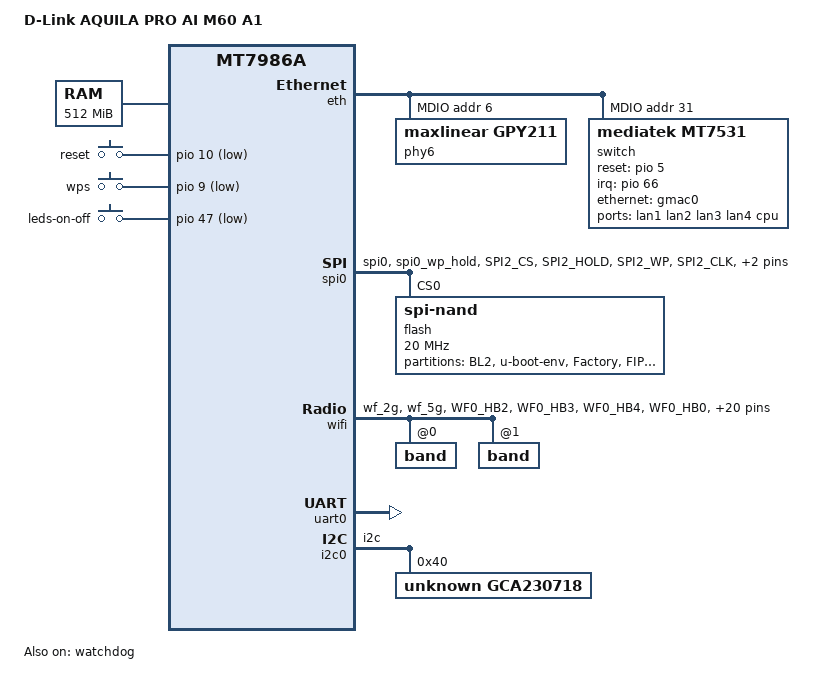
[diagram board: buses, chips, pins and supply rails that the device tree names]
// SPDX-License-Identifier: (GPL-2.0 OR MIT)

/dts-v1/;
#include <dt-bindings/input/input.h>
#include <dt-bindings/gpio/gpio.h>
#include <dt-bindings/leds/common.h>

#include "mt7986a.dtsi"

/ {
	model = "D-Link AQUILA PRO AI M60 A1";
	compatible = "dlink,aquila-pro-ai-m60-a1", "mediatek,mt7986a";

	aliases {
		serial0 = &uart0;
		led-boot = &led_status_white;
		led-failsafe = &led_status_red;
		led-running = &led_status_white;
		led-upgrade = &led_status_blue;
		label-mac-device = &gmac0;
	};

	chosen {
		stdout-path = "serial0:115200n8";
	};

	memory@40000000 {
		reg = <0 0x40000000 0 0x20000000>;
	};

	gpio-keys {
		compatible = "gpio-keys";

		button-reset {
			label = "reset";
			gpios = <&pio 10 GPIO_ACTIVE_LOW>;
			linux,code = <KEY_RESTART>;
		};

		button-wps {
			label = "wps";
			gpios = <&pio 9 GPIO_ACTIVE_LOW>;
			linux,code = <KEY_WPS_BUTTON>;
		};

		button-leds-on-off {
			label = "leds-on-off";
			linux,code = <KEY_LIGHTS_TOGGLE>;
			gpios = <&pio 47 GPIO_ACTIVE_LOW>;
		};
	};
};

&eth {
	status = "okay";

	gmac0: mac@0 {
		compatible = "mediatek,eth-mac";
		reg = <0>;
		phy-mode = "2500base-x";

		nvmem-cells = <&macaddr_odm 1>;
		nvmem-cell-names = "mac-address";
		fixed-link {
			speed = <2500>;
			full-duplex;
			pause;
		};
	};

	gmac1: mac@1 {
		compatible = "mediatek,eth-mac";
		reg = <1>;
		phy-mode = "2500base-x";
		phy-handle = <&phy6>;
		nvmem-cells = <&macaddr_odm 0>;
		nvmem-cell-names = "mac-address";
		label = "internet";
	};

	mdio: mdio-bus {
		#address-cells = <1>;
		#size-cells = <0>;

		reset-gpios = <&pio 6 GPIO_ACTIVE_LOW>;
		reset-delay-us = <1500000>;
		reset-post-delay-us = <1000000>;

		phy6: phy@6 {
			compatible = "maxlinear,gpy211", "ethernet-phy-ieee802.3-c45";
			reg = <6>;
			phy-mode = "2500base-x";
		};

		switch@1f {
			compatible = "mediatek,mt7531";
			reg = <31>;
			reset-gpios = <&pio 5 GPIO_ACTIVE_HIGH>;
			interrupt-controller;
			#interrupt-cells = <1>;
			interrupt-parent = <&pio>;
			interrupts = <66 IRQ_TYPE_LEVEL_HIGH>;
			ports {
				#address-cells = <1>;
				#size-cells = <0>;

				port@0 {
					reg = <0>;
					label = "lan1";
				};

				port@1 {
					reg = <1>;
					label = "lan2";
				};

				port@2 {
					reg = <2>;
					label = "lan3";
				};

				port@3 {
					reg = <3>;
					label = "lan4";
				};

				port@6 {
					reg = <6>;
					label = "cpu";
					ethernet = <&gmac0>;
					phy-mode = "2500base-x";

					fixed-link {
						speed = <2500>;
						full-duplex;
						pause;
					};
				};
			};
		};
	};
};

&pio {
	spi_flash_pins: spi-flash-pins-33-to-38 {
		mux {
			function = "spi";
			groups = "spi0", "spi0_wp_hold";
		};
		conf-pu {
			pins = "SPI2_CS", "SPI2_HOLD", "SPI2_WP";
			drive-strength = <8>;
			mediatek,pull-up-adv = <0>; /* bias-disable */
		};
		conf-pd {
			pins = "SPI2_CLK", "SPI2_MOSI", "SPI2_MISO";
			drive-strength = <8>;
			mediatek,pull-down-adv = <0>; /* bias-disable */
		};
	};

	wf_2g_5g_pins: wf_2g_5g-pins {
		mux {
			function = "wifi";
			groups = "wf_2g", "wf_5g";
		};
		conf {
			pins =
				"WF0_HB2",
				"WF0_HB3",
				"WF0_HB4",
				"WF0_HB0",
				"WF0_HB0_B",
				"WF0_HB5",
				"WF0_HB6",
				"WF0_HB7",
				"WF0_HB8",
				"WF0_HB9",
				"WF0_HB10",
				"WF0_TOP_CLK",
				"WF0_TOP_DATA",
				"WF1_HB1",
				"WF1_HB2",
				"WF1_HB3",
				"WF1_HB4",
				"WF1_HB0",
				"WF1_HB5",
				"WF1_HB6",
				"WF1_HB7",
				"WF1_HB8",
				"WF1_TOP_CLK",
				"WF1_TOP_DATA";
			drive-strength = <4>;
		};
	};

	i2c_pins_3_4: i2c-pins-3-4 {
		mux {
			function = "i2c";
			groups = "i2c";
		};
	};
};

&spi0 {
	pinctrl-names = "default";
	pinctrl-0 = <&spi_flash_pins>;
	status = "okay";

	flash@0 {
		compatible = "spi-nand";
		#address-cells = <1>;
		#size-cells = <1>;
		reg = <0>;

		spi-max-frequency = <20000000>;
		spi-tx-bus-width = <4>;
		spi-rx-bus-width = <4>;

		mediatek,nmbm;
		mediatek,bmt-max-ratio = <1>;
		mediatek,bmt-max-reserved-blocks = <64>;

		partitions {
			compatible = "fixed-partitions";
			#address-cells = <1>;
			#size-cells = <1>;

			partition@0 {
				label = "BL2";
				reg = <0x000000 0x100000>;
				read-only;
			};

			partition@100000 {
				label = "u-boot-env";
				reg = <0x100000 0x80000>;
			};

			partition@180000 {
				label = "Factory";
				reg = <0x180000 0x200000>;
				read-only;

				nvmem-layout {
					compatible = "fixed-layout";
					#address-cells = <1>;
					#size-cells = <1>;

					eeprom_factory_0: eeprom@0 {
						reg = <0x0 0x1000>;
					};
				};
			};

			partition@380000 {
				label = "FIP";
				reg = <0x380000 0x200000>;
				read-only;
			};

			partition@580000 {
				label = "ubi";
				reg = <0x580000 0x3200000>;
			};

			partition@3780000 {
				label = "ubi1";
				reg = <0x3780000 0x3200000>;
				read-only;
			};

			partition@6980000 {
				label = "Odm";
				reg = <0x6980000 0x40000>;
				read-only;

				nvmem-layout {
					compatible = "fixed-layout";
					#address-cells = <1>;
					#size-cells = <1>;

					macaddr_odm: macaddr@81 {
						compatible = "mac-base";
						reg = <0x81 0x6>;
						#nvmem-cell-cells = <1>;
					};
				};

			};

			partition@69c0000 {
				label = "Config1";
				reg = <0x69c0000 0x80000>;
				read-only;
			};

			partition@6a40000 {
				label = "Config2";
				reg = <0x6a40000 0x80000>;
				read-only;
			};

			partition@6ac0000 {
				label = "Storage";
				reg = <0x6ac0000 0xA00000>;
				read-only;
			};

		};
	};
};

&wifi {
	status = "okay";
	pinctrl-names = "default";
	pinctrl-0 = <&wf_2g_5g_pins>;


	nvmem-cells = <&eeprom_factory_0>;
	nvmem-cell-names = "eeprom";

	band@0 {
		/* 2.4 GHz */
		reg = <0>;
		nvmem-cells = <&macaddr_odm 2>;
		nvmem-cell-names = "mac-address";
	};
	band@1 {
		/* 5 GHz */
		reg = <1>;
		nvmem-cells = <&macaddr_odm 5>;
		nvmem-cell-names = "mac-address";
	};
};

&uart0 {
	status = "okay";
};

&watchdog {
	status = "okay";
};

&i2c0 {
	status = "okay";
	pinctrl-names = "default";
	pinctrl-0 = <&i2c_pins_3_4>;

	gca230718@40 {
		compatible = "unknown,gca230718";
		reg = <0x40>;

		led_status_red: led@0 {
			color = <LED_COLOR_ID_RED>;
			function = LED_FUNCTION_STATUS;
			reg = <0>;
		};

		led@1 {
			color = <LED_COLOR_ID_GREEN>;
			function = LED_FUNCTION_STATUS;
			reg = <1>;
		};

		led_status_blue: led@2 {
			color = <LED_COLOR_ID_BLUE>;
			function = LED_FUNCTION_STATUS;
			reg = <2>;
		};

		led_status_white: led@3 {
			color = <LED_COLOR_ID_WHITE>;
			function = LED_FUNCTION_STATUS;
			reg = <3>;
		};
	};
};
